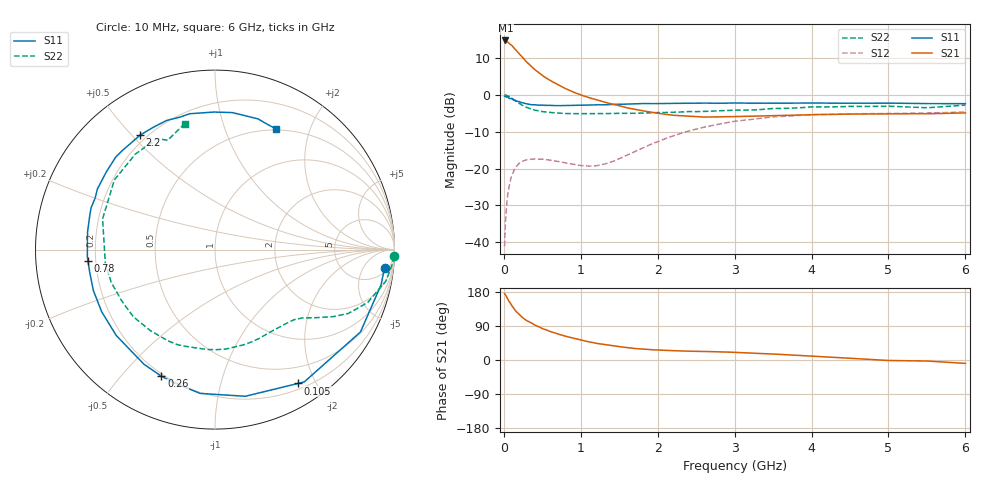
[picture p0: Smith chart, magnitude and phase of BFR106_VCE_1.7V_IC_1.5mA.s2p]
! Infineon Technologies  Discrete & RF Semiconductors
! BFR106
! VCE =  1.7 V,  IC =  1.5 mA
! Common Emitter S-Parameters:  Nov 2015
# GHz  S  MA  R  50
!  f  S11  S21  S12  S22
! GHz  MAG  ANG  MAG  ANG  MAG  ANG  MAG  ANG
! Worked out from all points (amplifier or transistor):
!   210 points, 10 MHz to 6 GHz, reference 50 ohm
!   highest |S21| = 14.6 dB at 20 MHz (marker M1)
!   |S21| within 3 dB of that: start of sweep to 174.5 MHz
!   unconditionally stable (mu >= 1): 804.8 MHz to end of sweep
!   at 185 MHz: K = 0.22, MSG = 15.2 dB, |S12| = -18.9 dB
!   at 1.52 GHz: K = 1.31, MAG = 3.7 dB, |S12| = -17.2 dB
!   at 6 GHz: K = 1.02, MAG = -1.0 dB, |S12| = -4.7 dB
!   S11 on the Smith chart (normalised r, x): 10 MHz: 7, -15; 105 MHz: 0.27, -1.77; 260 MHz: 0.19, -0.65; 780 MHz: 0.17, -0.04; 2.2 GHz: 0.17, +0.53; 6 GHz: 0.48, +1.51
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0.01  0.9502 -6.1  5.396 175.4  0.0089 87.5  0.9985 -2.2
0.02  0.946 -11.9  5.4 172.4  0.0177 82.9  0.9927 -4.4
0.05  0.9314 -29.5  5.155 160.5  0.0438 73.1  0.9674 -10.5
0.1  0.8892 -56.0  4.677 144.6  0.0795 59.4  0.9005 -19.1
0.105  0.8781 -58.1  4.607 143.3  0.0816 57.9  0.8923 -19.7
0.15  0.8345 -78.3  4.093 130.0  0.1028 47.6  0.8237 -25.6
0.2  0.8055 -95.9  3.573 119.8  0.1179 39.8  0.7615 -29.3
0.26  0.7663 -112.9  3.034 109.2  0.1275 32.2  0.6983 -32.8
0.3  0.7513 -121.8  2.74 103.6  0.1316 28.7  0.6689 -34.6
0.4  0.7292 -139.0  2.19 92.4  0.1348 22.2  0.6173 -38.1
0.5  0.72 -151.4  1.806 83.1  0.1338 18.6  0.589 -41.5
0.6  0.715 -161.5  1.557 75.4  0.13 16.6  0.5735 -45.3
0.78  0.711 -175.1  1.238 64.1  0.1204 17.8  0.5566 -53.0
1.02  0.7172 170.7  0.973 51.9  0.1092 26.4  0.5526 -64.0
1.4  0.7372 152.7  0.747 37.9  0.1226 50.4  0.5575 -83.8
2.02  0.7554 129.2  0.556 26.2  0.2358 62.2  0.5713 -118.4
2.2  0.7622 123.2  0.525 24.6  0.2766 60.3  0.5775 -128.5
2.8  0.7629 105.3  0.5 21.7  0.3997 47.7  0.6061 -162.4
3.1  0.7673 98.5  0.507 19.3  0.4467 40.2  0.6146 -177.1
4.1  0.7678 81.6  0.537 9.3  0.5376 18.3  0.6801 142.2
5.1  0.764 70.8  0.55 -1.6  0.5576 3.1  0.6906 116.8
6  0.7538 63.4  0.565 -8.9  0.5831 -7.0  0.7213 103.6
